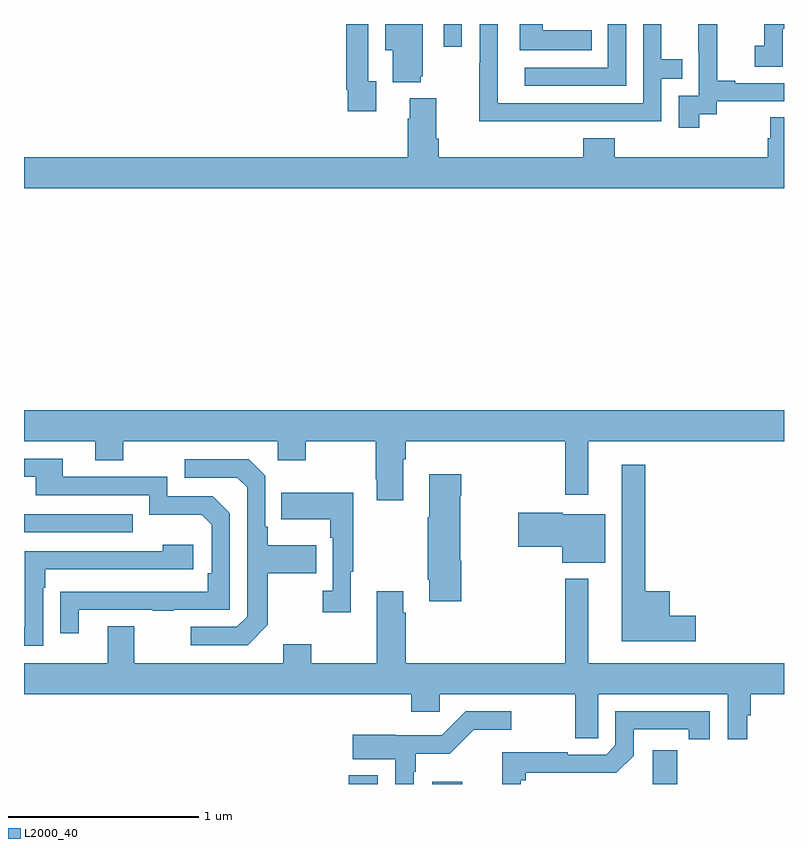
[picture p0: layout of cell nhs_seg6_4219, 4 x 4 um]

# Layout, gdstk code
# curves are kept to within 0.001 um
import gdstk
lib = gdstk.Library(unit=1e-6, precision=1e-09)
def R(c, l, rs):  # rectangles x0, y0, x1, y1
    for r in rs: c.add(gdstk.rectangle(r[:2], r[2:], *l))
def P(c, l, *ps):  # polygons
    for p in ps: c.add(gdstk.Polygon(p, *l))
L2000_40 = (2000, 40)

nhs_seg6_4219 = lib.new_cell('nhs_seg6_4219')
R(nhs_seg6_4219, L2000_40, [(360.71,977.5,360.862,977.545), (361.148,977.5,361.306,977.512), (362.309,977.5,362.437,977.677), (359,978.825,359.573,978.921), (361.209,981.381,361.305,981.5)])
P(nhs_seg6_4219, L2000_40, [(362.994,981.474),(363,981.474),(363,981.5),(362.896,981.5),(362.896,981.385),(362.847,981.385),(362.847,981.276),(362.994,981.276)],
  [(362.169,981.5),(362.073,981.5),(362.073,981.27),(361.635,981.27),(361.635,981.174),(362.169,981.174)],
  [(361.088,981.225),(361.099,981.225),(361.099,981.5),(360.902,981.5),(360.902,981.362),(360.941,981.362),(360.941,981.194),(361.088,981.194)],
  [(361.859,980.988),(362.355,980.988),(362.355,981.213),(362.465,981.213),(362.465,981.314),(362.355,981.314),(362.355,981.5),(362.259,981.5),(362.259,981.084),(361.494,981.084),(361.494,981.5),(361.398,981.5),(361.398,981.293),(361.396,981.293),(361.396,980.987),(361.859,980.987)],
  [(360.853,981.198),(360.813,981.198),(360.813,981.5),(360.697,981.5),(360.697,981.154),(360.705,981.154),(360.705,981.042),(360.853,981.042)],
  [(362.554,981.025),(362.646,981.025),(362.646,981.093),(363,981.093),(363,981.189),(362.743,981.189),(362.743,981.202),(362.648,981.202),(362.648,981.485),(362.649,981.485),(362.649,981.5),(362.549,981.5),(362.549,981.353),(362.55,981.353),(362.55,981.123),(362.445,981.123),(362.445,980.955),(362.554,980.955)],
  [(361.988,981.466),(361.731,981.466),(361.731,981.5),(361.61,981.5),(361.61,981.362),(361.988,981.362)],
  [(363,981.008),(362.927,981.008),(362.927,980.898),(362.915,980.898),(362.915,980.8),(362.108,980.8),(362.108,980.899),(361.943,980.899),(361.943,980.8),(361.184,980.8),(361.184,980.896),(361.171,980.896),(361.171,981.109),(361.031,981.109),(361.031,981.002),(361.019,981.002),(361.019,980.8),(359,980.8),(359,980.636),(363,980.636)],
  [(360.997,979.208),(361.01,979.208),(361.01,979.304),(361.848,979.304),(361.848,979.023),(361.969,979.023),(361.969,979.304),(363,979.304),(363,979.468),(359,979.468),(359,979.304),(359.375,979.304),(359.375,979.205),(359.523,979.205),(359.523,979.304),(360.336,979.304),(360.336,979.205),(360.483,979.205),(360.483,979.304),(360.85,979.304),(360.85,979.105),(360.857,979.105),(360.857,978.993),(360.997,978.993)],
  [(359.287,978.417),(359.677,978.417),(359.677,978.412),(359.789,978.412),(359.789,978.417),(360.084,978.417),(360.084,978.924),(359.994,979.014),(359.754,979.014),(359.754,979.116),(359.203,979.116),(359.203,979.212),(359,979.212),(359,979.116),(359.063,979.116),(359.063,979.02),(359.658,979.02),(359.658,978.917),(359.935,978.917),(359.988,978.864),(359.988,978.61),(359.968,978.61),(359.968,978.513),(359.191,978.512),(359.191,978.294),(359.287,978.294)],
  [(360.283,978.337),(360.283,978.61),(360.539,978.61),(360.539,978.757),(360.283,978.757),(360.283,978.853),(360.27,978.853),(360.27,979.122),(360.183,979.209),(359.847,979.209),(359.847,979.113),(360.123,979.113),(360.174,979.062),(360.174,978.381),(360.12,978.327),(359.877,978.327),(359.877,978.231),(360.177,978.231)],
  [(362.536,978.386),(362.398,978.386),(362.398,978.514),(362.269,978.514),(362.269,979.18),(362.147,979.18),(362.147,978.251),(362.536,978.251)],
  [(361.301,978.674),(361.296,978.674),(361.296,979.016),(361.301,979.016),(361.301,979.129),(361.133,979.129),(361.133,978.905),(361.126,978.905),(361.126,978.574),(361.133,978.574),(361.133,978.462),(361.301,978.462)],
  [(360.721,978.617),(360.733,978.617),(360.733,979.033),(360.355,979.033),(360.355,978.893),(360.612,978.893),(360.612,978.797),(360.624,978.797),(360.624,978.518),(360.573,978.518),(360.573,978.405),(360.721,978.405)],
  [(362.059,978.919),(361.836,978.919),(361.836,978.927),(361.602,978.927),(361.602,978.749),(361.832,978.749),(361.832,978.665),(362.059,978.665)],
  [(359.1,978.533),(359.113,978.533),(359.113,978.63),(359.89,978.63),(359.89,978.76),(359.729,978.76),(359.729,978.726),(359.004,978.726),(359.004,978.324),(359,978.324),(359,978.228),(359.1,978.228)],
  [(362.806,977.862),(362.824,977.862),(362.824,977.972),(363,977.972),(363,978.136),(361.969,978.136),(361.969,978.58),(361.848,978.58),(361.848,978.136),(361.01,978.136),(361.01,978.401),(360.997,978.401),(360.997,978.514),(360.857,978.514),(360.857,978.136),(360.513,978.136),(360.513,978.235),(360.365,978.235),(360.365,978.136),(359.581,978.136),(359.581,978.331),(359.441,978.331),(359.441,978.136),(359,978.136),(359,977.972),(361.037,977.972),(361.037,977.879),(361.188,977.879),(361.188,977.972),(361.9,977.972),(361.9,977.74),(362.022,977.74),(362.022,977.972),(362.705,977.972),(362.705,977.736),(362.806,977.736)],
  [(361.05,977.564),(361.063,977.564),(361.063,977.66),(361.24,977.66),(361.366,977.786),(361.564,977.786),(361.564,977.883),(361.325,977.883),(361.199,977.757),(360.729,977.758),(360.729,977.63),(360.954,977.63),(360.954,977.5),(361.05,977.5)],
  [(361.614,977.52),(361.642,977.52),(361.642,977.558),(362.117,977.558),(362.208,977.649),(362.208,977.787),(362.498,977.787),(362.498,977.736),(362.608,977.736),(362.608,977.883),(362.112,977.883),(362.112,977.703),(362.064,977.655),(361.861,977.655),(361.861,977.668),(361.517,977.668),(361.517,977.5),(361.614,977.5)])

lib.write_gds('nhs_seg6_4219.gds')
